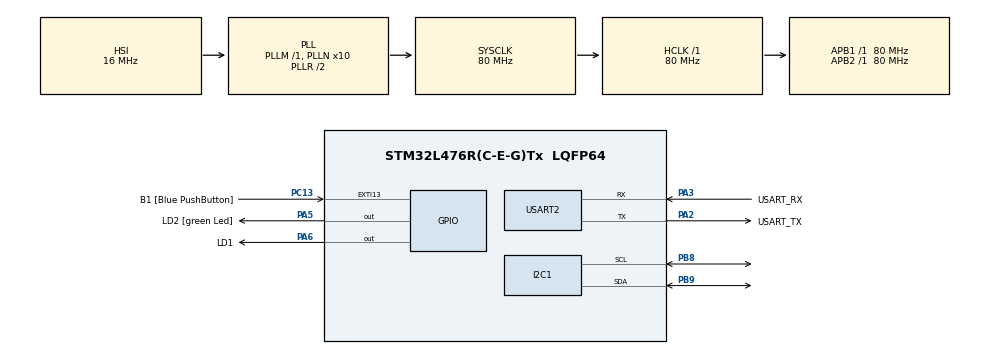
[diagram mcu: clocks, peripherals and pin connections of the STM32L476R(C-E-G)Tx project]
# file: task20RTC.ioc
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I2C1.Timing=0x10909CEC
Mcu.Family=STM32L4
Mcu.Name=STM32L476R(C-E-G)Tx
Mcu.Package=LQFP64
NVIC.EXTI15_10_IRQn=true\:0\:0\:false\:false\:true\:true\:true\:true
NVIC.PriorityGroup=NVIC_PRIORITYGROUP_4
NVIC.TIM6_DAC_IRQn=true\:0\:0\:false\:false\:true\:true\:true\:true
NVIC.USART2_IRQn=true\:0\:0\:false\:false\:true\:true\:true\:true
PA13\ (JTMS-SWDIO).GPIO_Label=TMS
PA13\ (JTMS-SWDIO).Mode=Serial_Wire
PA13\ (JTMS-SWDIO).Signal=SYS_JTMS-SWDIO
PA14\ (JTCK-SWCLK).GPIO_Label=TCK
PA14\ (JTCK-SWCLK).Mode=Serial_Wire
PA14\ (JTCK-SWCLK).Signal=SYS_JTCK-SWCLK
PA2.GPIO_Label=USART_TX
PA2.GPIO_Mode=GPIO_MODE_AF_PP
PA2.GPIO_PuPd=GPIO_NOPULL
PA2.GPIO_Speed=GPIO_SPEED_FREQ_VERY_HIGH
PA2.Mode=Asynchronous
PA2.Signal=USART2_TX
PA3.GPIO_Label=USART_RX
PA3.GPIO_Mode=GPIO_MODE_AF_PP
PA3.GPIO_PuPd=GPIO_NOPULL
PA3.GPIO_Speed=GPIO_SPEED_FREQ_VERY_HIGH
PA3.Mode=Asynchronous
PA3.Signal=USART2_RX
PA5.GPIO_Label=LD2 [green Led]
PA5.GPIO_ModeDefaultOutputPP=GPIO_MODE_OUTPUT_PP
PA5.GPIO_PuPd=GPIO_NOPULL
PA5.GPIO_Speed=GPIO_SPEED_FREQ_LOW
PA5.Signal=GPIO_Output
PA6.GPIO_Label=LD1
PA6.Signal=GPIO_Output
PB3\ (JTDO-TRACESWO).GPIO_Label=SWO
PB3\ (JTDO-TRACESWO).Signal=SYS_JTDO-SWO
PB8.Mode=I2C
PB8.Signal=I2C1_SCL
PB9.Mode=I2C
PB9.Signal=I2C1_SDA
PC13.GPIO_Label=B1 [Blue PushButton]
PC13.GPIO_ModeDefaultEXTI=GPIO_MODE_IT_FALLING
PC13.GPIO_PuPd=GPIO_NOPULL
PC13.Signal=GPXTI13
PC14-OSC32_IN\ (PC14).Mode=LSE-External-Oscillator
PC14-OSC32_IN\ (PC14).Signal=RCC_OSC32_IN
PC15-OSC32_OUT\ (PC15).Mode=LSE-External-Oscillator
PC15-OSC32_OUT\ (PC15).Signal=RCC_OSC32_OUT
PH0-OSC_IN\ (PH0).Signal=RCC_OSC_IN
PH1-OSC_OUT\ (PH1).Signal=RCC_OSC_OUT
ProjectManager.HeapSize=0x200
ProjectManager.StackSize=0x400
ProjectManager.TargetToolchain=STM32CubeIDE
RCC.ADCFreq_Value=64000000
RCC.AHBFreq_Value=80000000
RCC.APB1Freq_Value=80000000
RCC.APB1TimFreq_Value=80000000
RCC.APB2Freq_Value=80000000
RCC.APB2TimFreq_Value=80000000
RCC.CortexFreq_Value=80000000
RCC.HCLKFreq_Value=80000000
RCC.HSE_VALUE=8000000
RCC.HSI_VALUE=16000000
RCC.MSI_VALUE=4000000
RCC.PLLN=10
RCC.PLLSourceVirtual=RCC_PLLSOURCE_HSI
RCC.PREFETCH_ENABLE=1
RCC.SYSCLKFreq_VALUE=80000000
RCC.SYSCLKSource=RCC_SYSCLKSOURCE_PLLCLK
RCC.USBFreq_Value=64000000
RCC.VCOOutputFreq_Value=160000000
TIM6.Period=9999
TIM6.Prescaler=7999
USART2.VirtualMode-Asynchronous=VM_ASYNC
VP_TIM6_VS_ClockSourceINT.Mode=Enable_Timer
board=NUCLEO-L476RG

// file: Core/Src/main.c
/* USER CODE BEGIN Header */
/**
  ******************************************************************************
  * @file           : main.c
  * @brief          : Main program body
  ******************************************************************************
  * @attention
  *
  * Copyright (c) 2022 STMicroelectronics.
  * All rights reserved.
  *
  * This software is licensed under terms that can be found in the LICENSE file
  * in the root directory of this software component.
  * If no LICENSE file comes with this software, it is provided AS-IS.
  *
  ******************************************************************************
  */
/* USER CODE END Header */
#include "main.h"

/* USER CODE BEGIN Includes */
#include <stdio.h>
#include <string.h>
#include "calendar.h"
#include "handleCommand.h"
/* USER CODE END Includes */

 I2C_HandleTypeDef hi2c1;

TIM_HandleTypeDef htim6;

UART_HandleTypeDef huart2;

void SystemClock_Config(void);
static void MX_GPIO_Init(void);
static void MX_USART2_UART_Init(void);
static void MX_I2C1_Init(void);
static void MX_TIM6_Init(void);

/* USER CODE BEGIN 0 */

///////////////////////////////////////////////////////////////////////////
int _write(int fd, char* ptr, int len)
{
	HAL_UART_Transmit(&huart2, (uint8_t*)ptr, len, HAL_MAX_DELAY);
	return len;
}

////////////////////////////////////////////////////////////////////////////

uint8_t ledState[1];
CALENDAR mytime;

void HAL_TIM_PeriodElapsedCallback(TIM_HandleTypeDef * htim)
{
	printTime(&mytime);
}

/* USER CODE END 0 */

int main(void)
{

  /* MCU Configuration--------------------------------------------------------*/

  /* Reset of all peripherals, Initializes the Flash interface and the Systick. */
  HAL_Init();

  /* Configure the system clock */
  SystemClock_Config();

  /* Initialize all configured peripherals */
  MX_GPIO_Init();
  MX_USART2_UART_Init();
  MX_I2C1_Init();
  MX_TIM6_Init();
  /* USER CODE BEGIN 2 */
  HAL_I2C_Mem_Read(&hi2c1, 208, 16, 1, ledState, 1, 0xff);
  HAL_GPIO_WritePin(LD2_GPIO_Port, LD2_Pin, ledState[0]);
  /* USER CODE END 2 */

  /* Infinite loop */
  while (1)
  {

    /* USER CODE BEGIN 3 */
   if (Communication_commTask()){
	    Communication_handleCommand();
   }

  }
  /* USER CODE END 3 */
}

void SystemClock_Config(void)
{
  RCC_OscInitTypeDef RCC_OscInitStruct = {0};
  RCC_ClkInitTypeDef RCC_ClkInitStruct = {0};

  /** Configure the main internal regulator output voltage
  */
  if (HAL_PWREx_ControlVoltageScaling(PWR_REGULATOR_VOLTAGE_SCALE1) != HAL_OK)
  {
    Error_Handler();
  }

  /** Initializes the RCC Oscillators according to the specified parameters
  * in the RCC_OscInitTypeDef structure.
  */
  RCC_OscInitStruct.OscillatorType = RCC_OSCILLATORTYPE_HSI;
  RCC_OscInitStruct.HSIState = RCC_HSI_ON;
  RCC_OscInitStruct.HSICalibrationValue = RCC_HSICALIBRATION_DEFAULT;
  RCC_OscInitStruct.PLL.PLLState = RCC_PLL_ON;
  RCC_OscInitStruct.PLL.PLLSource = RCC_PLLSOURCE_HSI;
  RCC_OscInitStruct.PLL.PLLM = 1;
  RCC_OscInitStruct.PLL.PLLN = 10;
  RCC_OscInitStruct.PLL.PLLP = RCC_PLLP_DIV7;
  RCC_OscInitStruct.PLL.PLLQ = RCC_PLLQ_DIV2;
  RCC_OscInitStruct.PLL.PLLR = RCC_PLLR_DIV2;
  if (HAL_RCC_OscConfig(&RCC_OscInitStruct) != HAL_OK)
  {
    Error_Handler();
  }

  /** Initializes the CPU, AHB and APB buses clocks
  */
  RCC_ClkInitStruct.ClockType = RCC_CLOCKTYPE_HCLK|RCC_CLOCKTYPE_SYSCLK
                              |RCC_CLOCKTYPE_PCLK1|RCC_CLOCKTYPE_PCLK2;
  RCC_ClkInitStruct.SYSCLKSource = RCC_SYSCLKSOURCE_PLLCLK;
  RCC_ClkInitStruct.AHBCLKDivider = RCC_SYSCLK_DIV1;
  RCC_ClkInitStruct.APB1CLKDivider = RCC_HCLK_DIV1;
  RCC_ClkInitStruct.APB2CLKDivider = RCC_HCLK_DIV1;

  if (HAL_RCC_ClockConfig(&RCC_ClkInitStruct, FLASH_LATENCY_4) != HAL_OK)
  {
    Error_Handler();
  }
}

static void MX_I2C1_Init(void)
{

  hi2c1.Instance = I2C1;
  hi2c1.Init.Timing = 0x10909CEC;
  hi2c1.Init.OwnAddress1 = 0;
  hi2c1.Init.AddressingMode = I2C_ADDRESSINGMODE_7BIT;
  hi2c1.Init.DualAddressMode = I2C_DUALADDRESS_DISABLE;
  hi2c1.Init.OwnAddress2 = 0;
  hi2c1.Init.OwnAddress2Masks = I2C_OA2_NOMASK;
  hi2c1.Init.GeneralCallMode = I2C_GENERALCALL_DISABLE;
  hi2c1.Init.NoStretchMode = I2C_NOSTRETCH_DISABLE;
  if (HAL_I2C_Init(&hi2c1) != HAL_OK)
  {
    Error_Handler();
  }

  /** Configure Analogue filter
  */
  if (HAL_I2CEx_ConfigAnalogFilter(&hi2c1, I2C_ANALOGFILTER_ENABLE) != HAL_OK)
  {
    Error_Handler();
  }

  /** Configure Digital filter
  */
  if (HAL_I2CEx_ConfigDigitalFilter(&hi2c1, 0) != HAL_OK)
  {
    Error_Handler();
  }

}

static void MX_TIM6_Init(void)
{

  TIM_MasterConfigTypeDef sMasterConfig = {0};

  htim6.Instance = TIM6;
  htim6.Init.Prescaler = 7999;
  htim6.Init.CounterMode = TIM_COUNTERMODE_UP;
  htim6.Init.Period = 9999;
  htim6.Init.AutoReloadPreload = TIM_AUTORELOAD_PRELOAD_DISABLE;
  if (HAL_TIM_Base_Init(&htim6) != HAL_OK)
  {
    Error_Handler();
  }
  sMasterConfig.MasterOutputTrigger = TIM_TRGO_RESET;
  sMasterConfig.MasterSlaveMode = TIM_MASTERSLAVEMODE_DISABLE;
  if (HAL_TIMEx_MasterConfigSynchronization(&htim6, &sMasterConfig) != HAL_OK)
  {
    Error_Handler();
  }

}

static void MX_USART2_UART_Init(void)
{

  huart2.Instance = USART2;
  huart2.Init.BaudRate = 115200;
  huart2.Init.WordLength = UART_WORDLENGTH_8B;
  huart2.Init.StopBits = UART_STOPBITS_1;
  huart2.Init.Parity = UART_PARITY_NONE;
  huart2.Init.Mode = UART_MODE_TX_RX;
  huart2.Init.HwFlowCtl = UART_HWCONTROL_NONE;
  huart2.Init.OverSampling = UART_OVERSAMPLING_16;
  huart2.Init.OneBitSampling = UART_ONE_BIT_SAMPLE_DISABLE;
  huart2.AdvancedInit.AdvFeatureInit = UART_ADVFEATURE_NO_INIT;
  if (HAL_UART_Init(&huart2) != HAL_OK)
  {
    Error_Handler();
  }

}

static void MX_GPIO_Init(void)
{
  GPIO_InitTypeDef GPIO_InitStruct = {0};

  /* GPIO Ports Clock Enable */
  __HAL_RCC_GPIOC_CLK_ENABLE();
  __HAL_RCC_GPIOH_CLK_ENABLE();
  __HAL_RCC_GPIOA_CLK_ENABLE();
  __HAL_RCC_GPIOB_CLK_ENABLE();

  /*Configure GPIO pin Output Level */
  HAL_GPIO_WritePin(GPIOA, LD2_Pin|LD1_Pin, GPIO_PIN_RESET);

  /*Configure GPIO pin : B1_Pin */
  GPIO_InitStruct.Pin = B1_Pin;
  GPIO_InitStruct.Mode = GPIO_MODE_IT_FALLING;
  GPIO_InitStruct.Pull = GPIO_NOPULL;
  HAL_GPIO_Init(B1_GPIO_Port, &GPIO_InitStruct);

  /*Configure GPIO pins : LD2_Pin LD1_Pin */
  GPIO_InitStruct.Pin = LD2_Pin|LD1_Pin;
  GPIO_InitStruct.Mode = GPIO_MODE_OUTPUT_PP;
  GPIO_InitStruct.Pull = GPIO_NOPULL;
  GPIO_InitStruct.Speed = GPIO_SPEED_FREQ_LOW;
  HAL_GPIO_Init(GPIOA, &GPIO_InitStruct);

  /* EXTI interrupt init*/
  HAL_NVIC_SetPriority(EXTI15_10_IRQn, 0, 0);
  HAL_NVIC_EnableIRQ(EXTI15_10_IRQn);

}

void Error_Handler(void)
{
  __disable_irq();
  while (1)
  {
  }
}
